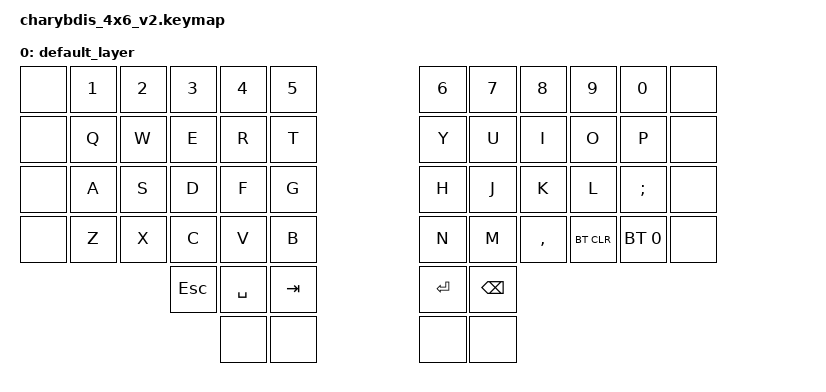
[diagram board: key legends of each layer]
/*
 * Copyright (c) 2020 ZMK Contributors
 *
 * SPDX-License-Identifier: MIT
 */


#include <behaviors.dtsi>
#include <dt-bindings/zmk/keys.h>
#include <dt-bindings/zmk/bt.h>

/ {
	keymap {
		compatible = "zmk,keymap";

		default_layer {
// ---------------------------------------------------------------------------------------------------------------------
// |       |   1   |   2   |   3   |   4   |   5   |                   |   6   |   7   |   8   |   9   |   0   |       |
// |       |   Q   |   W   |   E   |   R   |   T   |                   |   Y   |   U   |   I   |   O   |   P   |       |
// |       |   A   |   S   |   D   |   F   |   G   |                   |   H   |   J   |   K   |   L   |   ;   |       |
// |       |   Z   |   X   |   C   |   V   |       |                   |   N   |   M   |   ,   |   .   |   /   |       |
//                         | CTRL  | SPCE  | LOWER |         	  	   | RAISE | ENTR  |
//						           |       |       |	       	  	   |       |
			bindings = <
&none	&kp N1    &kp N2   &kp N3    &kp N4    &kp N5                    &kp N6    &kp N7   &kp N8    &kp N9    &kp N0		&none
&none	&kp Q     &kp W    &kp E     &kp R     &kp T                     &kp Y     &kp U    &kp I     &kp O     &kp P 		&none
&none	&kp A     &kp S    &kp D     &kp F     &kp G                     &kp H     &kp J    &kp K     &kp L     &kp SEMI 	&none
&none	&kp Z     &kp X    &kp C     &kp V     &kp B                     &kp N     &kp M    &kp COMMA &bt BT_CLR &bt BT_SEL 0 &none
                   		   &kp ESC   &kp SPACE &kp TAB                   &kp ENTER &kp BKSP
                   		   			 &none     &none					 &none     &none
			>;
		};
	};
};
